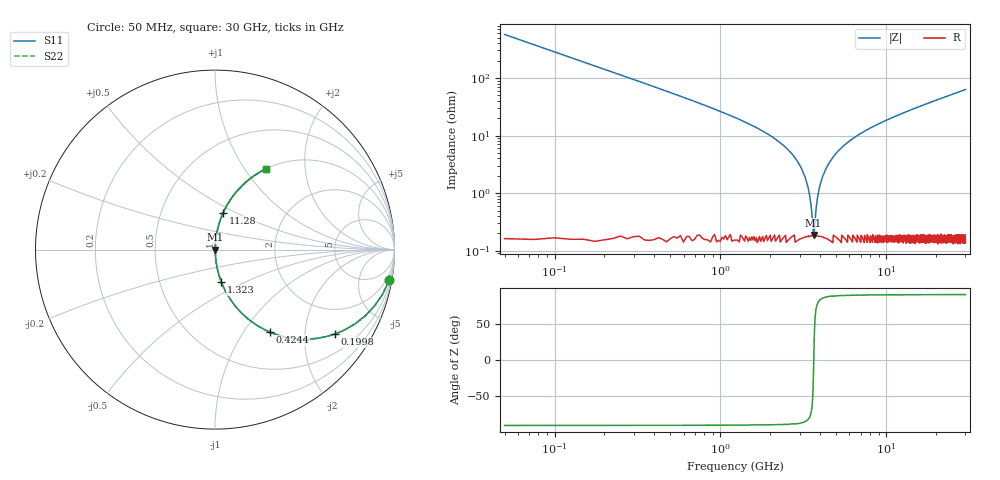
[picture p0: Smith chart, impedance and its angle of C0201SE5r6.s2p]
!	AVX Thin Film Operation 	Date: April 2014
!	Description: Accu-P® Series, Thin Film  SMD RF Capacitor
!	Part Number: 02013K5R6ABSTR
# MHZ S MA R 50
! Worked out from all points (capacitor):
!   1201 points, 50 MHz to 30 GHz, reference 50 ohm
!   read as one part in series: C = 5.6 pF near 199.8 MHz
!   lowest |Z| = 188 mohm at 3.644 GHz (marker M1)
!   series resonance near 3.655 GHz, so ESL is about 340 pH
!   S11 on the Smith chart (normalised r, x): 50 MHz: 1, -11; 199.8 MHz: 1.00, -2.84; 424.4 MHz: 1.00, -1.32; 1.323 GHz: 1.00, -0.37; 11.28 GHz: 1.00, +0.43; 30 GHz: 1.00, +1.26
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50  0.985 -10.0  0.173 80.0  0.173 80.0  0.985 -10.0
199.75  0.817 -35.2  0.576 54.8  0.576 54.8  0.817 -35.2
424.375  0.551 -56.5  0.833 33.4  0.833 33.4  0.551 -56.5
748.833  0.341 -69.8  0.938 20.0  0.938 20.0  0.341 -69.8
1322.875  0.183 -78.9  0.981 10.6  0.981 10.6  0.183 -78.9
2446  0.064 -84.9  0.996 3.7  0.996 3.7  0.064 -84.9
2970.125  0.032 -85.3  0.998 1.9  0.998 1.9  0.032 -85.3
3319.542  0.015 -82.9  0.998 0.9  0.998 0.9  0.015 -82.9
3544.167  0.005063 -71.0  0.998 0.3  0.998 0.3  0.005063 -71.0
3644  0.001697 -16.4  0.998 0.0  0.998 0.0  0.001697 -16.4
3743.833  0.004056 66.1  0.998 -0.2  0.998 -0.2  0.004056 66.1
3943.5  0.012 81.5  0.998 -0.7  0.998 -0.7  0.012 81.5
4168.125  0.021 84.3  0.998 -1.2  0.998 -1.2  0.021 84.3
4517.542  0.033 85.3  0.998 -1.9  0.998 -1.9  0.033 85.3
5041.667  0.051 85.3  0.997 -2.9  0.997 -2.9  0.051 85.3
6888.583  0.105 83.1  0.993 -6.0  0.993 -6.0  0.105 83.1
10058.29  0.182 79.0  0.982 -10.5  0.982 -10.5  0.182 79.0
11281.25  0.21 77.5  0.976 -12.1  0.976 -12.1  0.21 77.5
15025  0.288 73.0  0.956 -16.7  0.956 -16.7  0.288 73.0
20016.67  0.38 67.4  0.923 -22.3  0.923 -22.3  0.38 67.4
25033.29  0.462 62.3  0.886 -27.5  0.886 -27.5  0.462 62.3
30000  0.532 57.7  0.846 -32.1  0.846 -32.1  0.532 57.7
